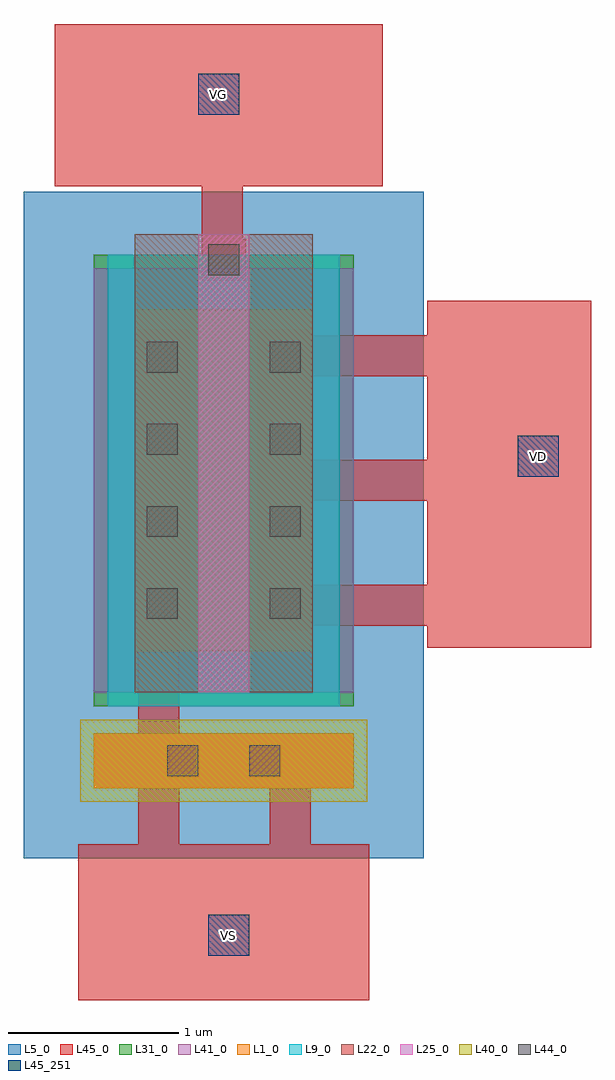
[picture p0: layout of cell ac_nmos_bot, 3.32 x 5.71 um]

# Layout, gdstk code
import gdstk
lib = gdstk.Library(unit=1e-6, precision=1e-09)
def R(c, l, rs):  # rectangles x0, y0, x1, y1
    for r in rs: c.add(gdstk.rectangle(r[:2], r[2:], *l))
def A(c, l, x, y, w, h, nx, ny, dx, dy):  # array of equal rectangles
    R(c, l, [(x+i*dx, y+j*dy, x+i*dx+w, y+j*dy+h) for i in range(nx) for j in range(ny)])
L1_0 = (1, 0)
L5_0 = (5, 0)
L9_0 = (9, 0)
L22_0 = (22, 0)
L25_0 = (25, 0)
L31_0 = (31, 0)
L40_0 = (40, 0)
L41_0 = (41, 0)
L44_0 = (44, 0)
L45_0 = (45, 0)
L45_251 = (45, 251)

abutcontact_cdns_4468070 = lib.new_cell('AbutContact_CDNS_446807009601')
R(abutcontact_cdns_4468070, L1_0, [(-0.13,-0.03,1.39,0.29)])
R(abutcontact_cdns_4468070, L44_0, [(0.3,0.04,0.48,0.22), (0.78,0.04,0.96,0.22)])
R(abutcontact_cdns_4468070, L45_0, [(-0.13,-0.03,1.39,0.29)])

nmos_hs_4_cdns_446807009 = lib.new_cell('nmos_hs_4_CDNS_446807009600')
R(nmos_hs_4_cdns_446807009, L1_0, [(-0.37,0,0,2), (0,0,0.3,2), (0.3,0,0.67,2), (-0.37,0.12,-0.05,1.88), (0.35,0.12,0.67,1.88)])
R(nmos_hs_4_cdns_446807009, L5_0, [(-1.02,-1.21,1.32,2.69), (-0.77,-0.96,1.07,2.32)])
R(nmos_hs_4_cdns_446807009, L9_0, [(-0.53,-0.32,0.83,2.32)])
R(nmos_hs_4_cdns_446807009, L22_0, [(-0.37,-0.24,0.67,2.44)])
R(nmos_hs_4_cdns_446807009, L25_0, [(0,-0.24,0.3,0), (0,-0.24,0.3,2.24), (0,2,0.3,2.24), (0,2.14,0.3,2.44), (0,2.14,0.3,2.44)])
R(nmos_hs_4_cdns_446807009, L31_0, [(-0.61,-0.32,0.91,2.32)])
R(nmos_hs_4_cdns_446807009, L40_0, [(-0.69,-0.88,0.99,-0.4)])
R(nmos_hs_4_cdns_446807009, L41_0, [(-0.61,-0.24,0.91,2.24)])
A(nmos_hs_4_cdns_446807009, L44_0, -0.3, 0.19, 0.18, 0.18, 1, 4, 0, 0.48)
A(nmos_hs_4_cdns_446807009, L44_0, 0.42, 0.19, 0.18, 0.18, 1, 4, 0, 0.48)
R(nmos_hs_4_cdns_446807009, L44_0, [(0.06,2.2,0.24,2.38)])
R(nmos_hs_4_cdns_446807009, L45_0, [(-0.61,-0.8,0.91,-0.48), (-0.37,0.12,-0.05,1.88), (0.35,0.12,0.67,1.88), (0.02,2.17,0.28,2.41)])
nmos_hs_4_cdns_446807009.add(gdstk.Reference(abutcontact_cdns_4468070, (-0.48,-0.77)))

ac_nmos_bot = lib.new_cell('ac_nmos_bot')
R(ac_nmos_bot, L45_0, [(0.82,0.76,2.52,1.67), (2.86,2.82,3.82,4.85), (0.68,5.52,2.6,6.47)])
R(ac_nmos_bot, L45_251, [(1.58,1.02,1.82,1.26), (3.39,3.82,3.63,4.06), (1.52,5.94,1.76,6.18)])
ac_nmos_bot.add(gdstk.FlexPath([(1.29,3.15),(1.29,2.05)], 0.24, ends="flush", simple_path=True, layer=45, datatype=0))  # L45_0
ac_nmos_bot.add(gdstk.FlexPath([(1.66,4.98),(1.66,5.87)], 0.24, ends="flush", simple_path=True, layer=45, datatype=0))  # L45_0
ac_nmos_bot.add(gdstk.FlexPath([(2.06,2.32),(2.06,1.52)], 0.24, ends="flush", simple_path=True, layer=45, datatype=0))  # L45_0
ac_nmos_bot.add(gdstk.FlexPath([(1.94,3.8),(3.27,3.8)], 0.24, ends="flush", simple_path=True, layer=45, datatype=0))  # L45_0
ac_nmos_bot.add(gdstk.FlexPath([(1.94,4.53),(3.25,4.53)], 0.24, ends="flush", simple_path=True, layer=45, datatype=0))  # L45_0
ac_nmos_bot.add(gdstk.FlexPath([(1.94,3.07),(3.3,3.07)], 0.24, ends="flush", simple_path=True, layer=45, datatype=0))  # L45_0
ac_nmos_bot.add(gdstk.FlexPath([(1.29,2.31),(1.29,1.51)], 0.24, ends="flush", simple_path=True, layer=45, datatype=0))  # L45_0
ac_nmos_bot.add(gdstk.Reference(nmos_hs_4_cdns_446807009, (1.52,2.8)))
ac_nmos_bot.add(gdstk.Label('VG', (1.64,6.06), layer=45, texttype=251))
ac_nmos_bot.add(gdstk.Label('VS', (1.7,1.14), layer=45, texttype=251))
ac_nmos_bot.add(gdstk.Label('VD', (3.51,3.94), layer=45, texttype=251))

lib.write_gds('ac_nmos_bot.gds')
